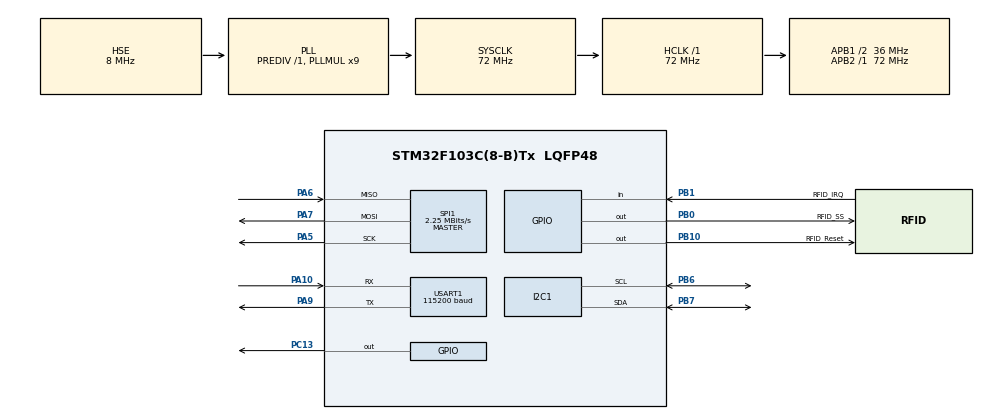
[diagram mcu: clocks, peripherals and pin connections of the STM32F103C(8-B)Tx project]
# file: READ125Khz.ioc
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Mcu.Family=STM32F1
Mcu.Name=STM32F103C(8-B)Tx
Mcu.Package=LQFP48
NVIC.I2C1_ER_IRQn=true\:0\:0\:false\:false\:true\:true\:true\:true
NVIC.I2C1_EV_IRQn=true\:0\:0\:false\:false\:true\:true\:true\:true
NVIC.PriorityGroup=NVIC_PRIORITYGROUP_4
NVIC.SPI1_IRQn=true\:0\:0\:false\:false\:true\:true\:true\:true
NVIC.USART1_IRQn=true\:1\:0\:true\:false\:true\:true\:true\:true
PA10.Mode=Asynchronous
PA10.Signal=USART1_RX
PA13.Mode=Serial_Wire
PA13.Signal=SYS_JTMS-SWDIO
PA14.Mode=Serial_Wire
PA14.Signal=SYS_JTCK-SWCLK
PA5.Mode=Full_Duplex_Master
PA5.Signal=SPI1_SCK
PA6.Mode=Full_Duplex_Master
PA6.Signal=SPI1_MISO
PA7.Mode=Full_Duplex_Master
PA7.Signal=SPI1_MOSI
PA9.Mode=Asynchronous
PA9.Signal=USART1_TX
PB0.GPIO_Label=RFID_SS
PB0.GPIO_Speed=GPIO_SPEED_FREQ_HIGH
PB0.Signal=GPIO_Output
PB1.GPIO_Label=RFID_IRQ
PB1.Signal=GPIO_Input
PB10.GPIO_Label=RFID_Reset
PB10.GPIO_Speed=GPIO_SPEED_FREQ_HIGH
PB10.Signal=GPIO_Output
PB6.Mode=I2C
PB6.Signal=I2C1_SCL
PB7.Mode=I2C
PB7.Signal=I2C1_SDA
PC13-TAMPER-RTC.GPIO_Speed=GPIO_SPEED_FREQ_HIGH
PC13-TAMPER-RTC.PinState=GPIO_PIN_SET
PC13-TAMPER-RTC.Signal=GPIO_Output
PD0-OSC_IN.Mode=HSE-External-Oscillator
PD0-OSC_IN.Signal=RCC_OSC_IN
PD1-OSC_OUT.Mode=HSE-External-Oscillator
PD1-OSC_OUT.Signal=RCC_OSC_OUT
ProjectManager.HeapSize=0x200
ProjectManager.StackSize=0x400
ProjectManager.TargetToolchain=STM32CubeIDE
RCC.AHBFreq_Value=72000000
RCC.APB1CLKDivider=RCC_HCLK_DIV2
RCC.APB1Freq_Value=36000000
RCC.APB1TimFreq_Value=72000000
RCC.APB2Freq_Value=72000000
RCC.APB2TimFreq_Value=72000000
RCC.HCLKFreq_Value=72000000
RCC.PLLMUL=RCC_PLL_MUL9
RCC.PLLSourceVirtual=RCC_PLLSOURCE_HSE
RCC.SYSCLKFreq_VALUE=72000000
RCC.SYSCLKSource=RCC_SYSCLKSOURCE_PLLCLK
RCC.USBFreq_Value=72000000
SPI1.BaudRatePrescaler=SPI_BAUDRATEPRESCALER_32
SPI1.CalculateBaudRate=2.25 MBits/s
SPI1.Direction=SPI_DIRECTION_2LINES
SPI1.Mode=SPI_MODE_MASTER
SPI1.VirtualType=VM_MASTER
USART1.BaudRate=115200
USART1.VirtualMode=VM_ASYNC
board=custom

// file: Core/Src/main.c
/* USER CODE BEGIN Header */
/**
  ******************************************************************************
  * @file           : main.c
  * @brief          : Main program body
  ******************************************************************************
  * @attention
  *
  * Copyright (c) 2024 STMicroelectronics.
  * All rights reserved.
  *
  * This software is licensed under terms that can be found in the LICENSE file
  * in the root directory of this software component.
  * If no LICENSE file comes with this software, it is provided AS-IS.
  *
  ******************************************************************************
  */
/* USER CODE END Header */
#include "main.h"

/* USER CODE BEGIN Includes */
#include "pn532.h"
#include "pn532_stm32f1.h"
#include "string.h"
#include "stdio.h"
/* USER CODE END Includes */

/* USER CODE BEGIN PTD */
extern I2C_HandleTypeDef hi2c1;
/* USER CODE END PTD */

I2C_HandleTypeDef hi2c1;

SPI_HandleTypeDef hspi1;

UART_HandleTypeDef huart1;

void SystemClock_Config(void);
static void MX_GPIO_Init(void);
static void MX_USART1_UART_Init(void);
static void MX_SPI1_Init(void);
static void MX_I2C1_Init(void);

/* USER CODE BEGIN 0 */

char *str = "Welcome ";
uint8_t data[20];
uint8_t CARDID[5];
uint8_t count;

uint8_t firmware[4];
uint8_t uid[10];
int uid_len;

void HAL_UART_RxCpltCallback(UART_HandleTypeDef *huart)
{
	count++;
	HAL_UART_Receive_IT(&huart1, data, 4);
}

/* USER CODE END 0 */

int main(void)
{

  /* MCU Configuration--------------------------------------------------------*/

  /* Reset of all peripherals, Initializes the Flash interface and the Systick. */
  HAL_Init();

  /* Configure the system clock */
  SystemClock_Config();

  /* Initialize all configured peripherals */
  MX_GPIO_Init();
  MX_USART1_UART_Init();
  MX_SPI1_Init();
  MX_I2C1_Init();

  /* Infinite loop */
  while (1)
  {

    /* USER CODE BEGIN 3 */
//	  HAL_UART_Receive_IT(&huart1, data, 4);
//
//	  memcpy(CARDID, data , 5);
//	  if((CARDID[0]==0) && (CARDID[1]==6) && (CARDID[2]==185) && (CARDID[3]==163))
//	  {
//		  HAL_GPIO_TogglePin(GPIOC, GPIO_PIN_13); // nhay led tren chan 13
//		  HAL_Delay(100);
//	  }
//	  else if((CARDID[0]==0) && (CARDID[1]==184) && (CARDID[2]==90) && (CARDID[3]==224))
//	  {
//		  HAL_GPIO_TogglePin(GPIOC, GPIO_PIN_13); // nhay led tren chan 13
//		  HAL_Delay(1000);
//	  }
//	  else
//	  {
//	      HAL_GPIO_WritePin(GPIOC, GPIO_PIN_13, GPIO_PIN_SET);
//
//	  }
  }
  /* USER CODE END 3 */
}

void SystemClock_Config(void)
{
  RCC_OscInitTypeDef RCC_OscInitStruct = {0};
  RCC_ClkInitTypeDef RCC_ClkInitStruct = {0};

  /** Initializes the RCC Oscillators according to the specified parameters
  * in the RCC_OscInitTypeDef structure.
  */
  RCC_OscInitStruct.OscillatorType = RCC_OSCILLATORTYPE_HSE;
  RCC_OscInitStruct.HSEState = RCC_HSE_ON;
  RCC_OscInitStruct.HSEPredivValue = RCC_HSE_PREDIV_DIV1;
  RCC_OscInitStruct.HSIState = RCC_HSI_ON;
  RCC_OscInitStruct.PLL.PLLState = RCC_PLL_ON;
  RCC_OscInitStruct.PLL.PLLSource = RCC_PLLSOURCE_HSE;
  RCC_OscInitStruct.PLL.PLLMUL = RCC_PLL_MUL9;
  if (HAL_RCC_OscConfig(&RCC_OscInitStruct) != HAL_OK)
  {
    Error_Handler();
  }

  /** Initializes the CPU, AHB and APB buses clocks
  */
  RCC_ClkInitStruct.ClockType = RCC_CLOCKTYPE_HCLK|RCC_CLOCKTYPE_SYSCLK
                              |RCC_CLOCKTYPE_PCLK1|RCC_CLOCKTYPE_PCLK2;
  RCC_ClkInitStruct.SYSCLKSource = RCC_SYSCLKSOURCE_PLLCLK;
  RCC_ClkInitStruct.AHBCLKDivider = RCC_SYSCLK_DIV1;
  RCC_ClkInitStruct.APB1CLKDivider = RCC_HCLK_DIV2;
  RCC_ClkInitStruct.APB2CLKDivider = RCC_HCLK_DIV1;

  if (HAL_RCC_ClockConfig(&RCC_ClkInitStruct, FLASH_LATENCY_2) != HAL_OK)
  {
    Error_Handler();
  }
}

static void MX_I2C1_Init(void)
{

  hi2c1.Instance = I2C1;
  hi2c1.Init.ClockSpeed = 100000;
  hi2c1.Init.DutyCycle = I2C_DUTYCYCLE_2;
  hi2c1.Init.OwnAddress1 = 0;
  hi2c1.Init.AddressingMode = I2C_ADDRESSINGMODE_7BIT;
  hi2c1.Init.DualAddressMode = I2C_DUALADDRESS_DISABLE;
  hi2c1.Init.OwnAddress2 = 0;
  hi2c1.Init.GeneralCallMode = I2C_GENERALCALL_DISABLE;
  hi2c1.Init.NoStretchMode = I2C_NOSTRETCH_DISABLE;
  if (HAL_I2C_Init(&hi2c1) != HAL_OK)
  {
    Error_Handler();
  }

}

static void MX_SPI1_Init(void)
{

  /* SPI1 parameter configuration*/
  hspi1.Instance = SPI1;
  hspi1.Init.Mode = SPI_MODE_MASTER;
  hspi1.Init.Direction = SPI_DIRECTION_2LINES;
  hspi1.Init.DataSize = SPI_DATASIZE_8BIT;
  hspi1.Init.CLKPolarity = SPI_POLARITY_LOW;
  hspi1.Init.CLKPhase = SPI_PHASE_1EDGE;
  hspi1.Init.NSS = SPI_NSS_SOFT;
  hspi1.Init.BaudRatePrescaler = SPI_BAUDRATEPRESCALER_32;
  hspi1.Init.FirstBit = SPI_FIRSTBIT_MSB;
  hspi1.Init.TIMode = SPI_TIMODE_DISABLE;
  hspi1.Init.CRCCalculation = SPI_CRCCALCULATION_DISABLE;
  hspi1.Init.CRCPolynomial = 10;
  if (HAL_SPI_Init(&hspi1) != HAL_OK)
  {
    Error_Handler();
  }

}

static void MX_USART1_UART_Init(void)
{

  huart1.Instance = USART1;
  huart1.Init.BaudRate = 115200;
  huart1.Init.WordLength = UART_WORDLENGTH_8B;
  huart1.Init.StopBits = UART_STOPBITS_1;
  huart1.Init.Parity = UART_PARITY_NONE;
  huart1.Init.Mode = UART_MODE_TX_RX;
  huart1.Init.HwFlowCtl = UART_HWCONTROL_NONE;
  huart1.Init.OverSampling = UART_OVERSAMPLING_16;
  if (HAL_UART_Init(&huart1) != HAL_OK)
  {
    Error_Handler();
  }

}

static void MX_GPIO_Init(void)
{
  GPIO_InitTypeDef GPIO_InitStruct = {0};

  /* GPIO Ports Clock Enable */
  __HAL_RCC_GPIOC_CLK_ENABLE();
  __HAL_RCC_GPIOD_CLK_ENABLE();
  __HAL_RCC_GPIOA_CLK_ENABLE();
  __HAL_RCC_GPIOB_CLK_ENABLE();

  /*Configure GPIO pin Output Level */
  HAL_GPIO_WritePin(GPIOC, GPIO_PIN_13, GPIO_PIN_SET);

  /*Configure GPIO pin Output Level */
  HAL_GPIO_WritePin(GPIOB, RFID_SS_Pin|RFID_Reset_Pin, GPIO_PIN_RESET);

  /*Configure GPIO pin : PC13 */
  GPIO_InitStruct.Pin = GPIO_PIN_13;
  GPIO_InitStruct.Mode = GPIO_MODE_OUTPUT_PP;
  GPIO_InitStruct.Pull = GPIO_NOPULL;
  GPIO_InitStruct.Speed = GPIO_SPEED_FREQ_HIGH;
  HAL_GPIO_Init(GPIOC, &GPIO_InitStruct);

  /*Configure GPIO pins : RFID_SS_Pin RFID_Reset_Pin */
  GPIO_InitStruct.Pin = RFID_SS_Pin|RFID_Reset_Pin;
  GPIO_InitStruct.Mode = GPIO_MODE_OUTPUT_PP;
  GPIO_InitStruct.Pull = GPIO_NOPULL;
  GPIO_InitStruct.Speed = GPIO_SPEED_FREQ_HIGH;
  HAL_GPIO_Init(GPIOB, &GPIO_InitStruct);

  /*Configure GPIO pin : RFID_IRQ_Pin */
  GPIO_InitStruct.Pin = RFID_IRQ_Pin;
  GPIO_InitStruct.Mode = GPIO_MODE_INPUT;
  GPIO_InitStruct.Pull = GPIO_NOPULL;
  HAL_GPIO_Init(RFID_IRQ_GPIO_Port, &GPIO_InitStruct);

}

void Error_Handler(void)
{
  __disable_irq();
  while (1)
  {
  }
}
